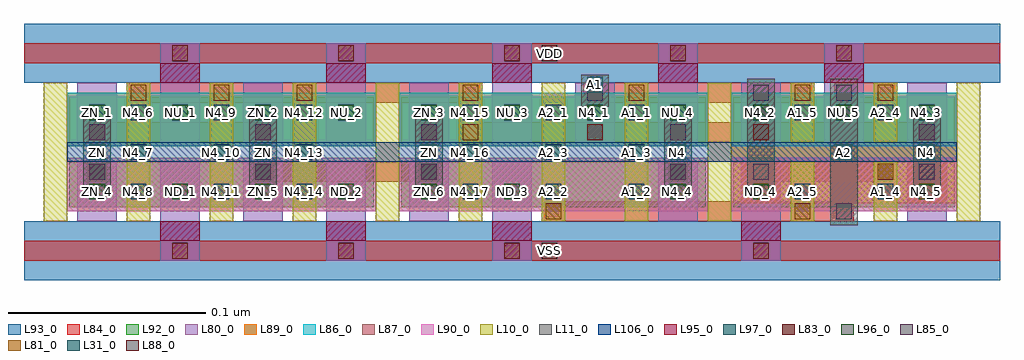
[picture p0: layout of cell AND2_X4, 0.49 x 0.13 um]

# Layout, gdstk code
import gdstk
lib = gdstk.Library(unit=1e-6, precision=1e-09)
def R(c, l, rs):  # rectangles x0, y0, x1, y1
    for r in rs: c.add(gdstk.rectangle(r[:2], r[2:], *l))
def A(c, l, x, y, w, h, nx, ny, dx, dy):  # array of equal rectangles
    R(c, l, [(x+i*dx, y+j*dy, x+i*dx+w, y+j*dy+h) for i in range(nx) for j in range(ny)])
L10_0 = (10, 0)
L11_0 = (11, 0)
L31_0 = (31, 0)
L80_0 = (80, 0)
L81_0 = (81, 0)
L83_0 = (83, 0)
L84_0 = (84, 0)
L85_0 = (85, 0)
L86_0 = (86, 0)
L87_0 = (87, 0)
L88_0 = (88, 0)
L89_0 = (89, 0)
L90_0 = (90, 0)
L92_0 = (92, 0)
L93_0 = (93, 0)
L95_0 = (95, 0)
L96_0 = (96, 0)
L97_0 = (97, 0)
L106_0 = (106, 0)

and2_x4 = lib.new_cell('AND2_X4')
A(and2_x4, L10_0, -0.027, 0.015, 0.012, 0.07, 9, 1, 0.042, 0)
R(and2_x4, L10_0, [(0.351,0.015,0.363,0.045), (0.393,0.015,0.405,0.045), (0.435,0.015,0.447,0.085), (0.351,0.055,0.363,0.085), (0.393,0.055,0.405,0.085)])
A(and2_x4, L11_0, -0.007, 0.033, 0.014, 0.034, 3, 1, 0.084, 0)
A(and2_x4, L11_0, 0.287, 0.033, 0.014, 0.034, 4, 1, 0.042, 0)
R(and2_x4, L11_0, [(0.371,0.013,0.385,0.047), (0.329,0.053,0.343,0.087), (0.371,0.053,0.385,0.087), (0.245,0.073,0.259,0.089)])
A(and2_x4, L31_0, -0.004, 0.046, 0.008, 0.008, 3, 1, 0.084, 0)
R(and2_x4, L31_0, [(0.29,0.046,0.298,0.054), (0.374,0.046,0.382,0.054), (0.416,0.046,0.424,0.054), (0.248,0.08,0.256,0.088)])
A(and2_x4, L80_0, 0.032, -0.005, 0.02, 0.03, 3, 1, 0.084, 0)
A(and2_x4, L80_0, -0.01, 0.015, 0.02, 0.03, 6, 1, 0.042, 0)
A(and2_x4, L80_0, -0.01, 0.055, 0.02, 0.03, 11, 1, 0.042, 0)
A(and2_x4, L80_0, 0.032, 0.075, 0.02, 0.03, 5, 1, 0.084, 0)
R(and2_x4, L80_0, [(0.326,-0.005,0.346,0.025), (0.284,0.015,0.304,0.045), (0.326,0.015,0.346,0.045), (0.41,0.015,0.43,0.045)])
A(and2_x4, L81_0, 0.101, 0.076, 0.008, 0.008, 4, 1, 0.084, 0)
R(and2_x4, L81_0, [(0.227,0.016,0.235,0.024), (0.353,0.016,0.361,0.024), (0.395,0.036,0.403,0.044), (0.185,0.056,0.193,0.064), (0.017,0.076,0.025,0.084), (0.017,0.076,0.025,0.084), (0.059,0.076,0.067,0.084), (0.059,0.076,0.067,0.084), (0.395,0.076,0.403,0.084)])
A(and2_x4, L83_0, 0.038, -0.004, 0.008, 0.008, 3, 1, 0.084, 0)
A(and2_x4, L83_0, -0.004, 0.036, 0.008, 0.008, 3, 1, 0.084, 0)
A(and2_x4, L83_0, -0.004, 0.056, 0.008, 0.008, 6, 1, 0.084, 0)
A(and2_x4, L83_0, 0.038, 0.096, 0.008, 0.008, 5, 1, 0.084, 0)
R(and2_x4, L83_0, [(0.332,-0.004,0.34,0.004), (0.29,0.036,0.298,0.044), (0.416,0.036,0.424,0.044)])
A(and2_x4, L84_0, 0.226, 0.015, 0.031, 0.01, 7, 1, 0.021, 0)
A(and2_x4, L84_0, 0.079, 0.035, 0.031, 0.01, 4, 1, 0.021, 0)
A(and2_x4, L84_0, 0.331, 0.035, 0.031, 0.01, 3, 1, 0.021, 0)
A(and2_x4, L84_0, -0.005, 0.055, 0.031, 0.01, 4, 1, 0.021, 0)
A(and2_x4, L84_0, 0.184, 0.055, 0.031, 0.01, 11, 1, 0.021, 0)
A(and2_x4, L84_0, 0.016, 0.075, 0.031, 0.01, 8, 1, 0.021, 0)
A(and2_x4, L84_0, 0.289, 0.075, 0.031, 0.01, 3, 1, 0.021, 0)
R(and2_x4, L84_0, [(-0.037,-0.005,0.457,0.005), (-0.005,0.035,0.005,0.045), (0.289,0.035,0.299,0.045), (0.415,0.035,0.425,0.045), (0.163,0.055,0.173,0.065), (0.246,0.075,0.299,0.085), (0.373,0.075,0.404,0.085), (-0.037,0.095,0.457,0.105)])
A(and2_x4, L85_0, -0.004, 0.036, 0.008, 0.008, 3, 2, 0.084, 0.02)
R(and2_x4, L85_0, [(0.374,0.016,0.382,0.024), (0.29,0.036,0.298,0.044), (0.332,0.036,0.34,0.044), (0.416,0.036,0.424,0.044), (0.29,0.056,0.298,0.064), (0.416,0.056,0.424,0.064), (0.248,0.076,0.256,0.084), (0.332,0.076,0.34,0.084), (0.374,0.076,0.382,0.084)])
R(and2_x4, L86_0, [(-0.015,0.053,0.141,0.08), (0.153,0.053,0.309,0.08), (0.321,0.053,0.435,0.08)])
R(and2_x4, L87_0, [(-0.015,0.02,0.141,0.047), (0.153,0.02,0.309,0.047), (0.321,0.02,0.435,0.047)])
R(and2_x4, L88_0, [(0.225,-0.004,0.233,0.004), (0.225,0.096,0.233,0.104)])
R(and2_x4, L89_0, [(0.321,0.024,0.435,0.08), (-0.015,0.053,0.141,0.08), (0.153,0.053,0.309,0.08)])
R(and2_x4, L90_0, [(-0.015,0.02,0.141,0.047), (0.153,0.02,0.309,0.047), (0.321,0.02,0.435,0.047)])
R(and2_x4, L92_0, [(-0.014,0.022,0.14,0.045), (0.154,0.022,0.308,0.045), (0.322,0.022,0.434,0.045), (-0.014,0.055,0.14,0.078), (0.154,0.055,0.308,0.078), (0.322,0.055,0.434,0.078)])
R(and2_x4, L93_0, [(-0.037,-0.015,0.457,0.015), (-0.037,0.085,0.457,0.115)])
A(and2_x4, L95_0, 0.032, 0.005, 0.02, 0.01, 3, 1, 0.084, 0)
A(and2_x4, L95_0, 0.032, 0.085, 0.02, 0.01, 5, 1, 0.084, 0)
R(and2_x4, L95_0, [(0.326,0.005,0.346,0.015)])
A(and2_x4, L96_0, -0.004, 0.026, 0.008, 0.008, 6, 1, 0.042, 0)
A(and2_x4, L96_0, -0.004, 0.066, 0.008, 0.008, 11, 1, 0.042, 0)
R(and2_x4, L96_0, [(0.29,0.026,0.298,0.034), (0.332,0.026,0.34,0.034), (0.416,0.026,0.424,0.034)])
A(and2_x4, L97_0, 0.017, 0.026, 0.008, 0.008, 3, 3, 0.042, 0.02)
A(and2_x4, L97_0, 0.185, 0.026, 0.008, 0.008, 3, 3, 0.042, 0.02)
R(and2_x4, L97_0, [(0.353,0.026,0.361,0.034), (0.395,0.026,0.403,0.034), (0.353,0.066,0.361,0.074), (0.395,0.066,0.403,0.074)])
R(and2_x4, L106_0, [(-0.015,0.045,0.435,0.055)])
and2_x4.add(gdstk.Label('N4_5', (0.42,0.03), layer=96, texttype=0))
and2_x4.add(gdstk.Label('ND_4', (0.336,0.03), layer=96, texttype=0))
and2_x4.add(gdstk.Label('N4_4', (0.294,0.03), layer=96, texttype=0))
and2_x4.add(gdstk.Label('ND_3', (0.21,0.03), layer=96, texttype=0))
and2_x4.add(gdstk.Label('ZN_6', (0.168,0.03), layer=96, texttype=0))
and2_x4.add(gdstk.Label('ND_2', (0.126,0.03), layer=96, texttype=0))
and2_x4.add(gdstk.Label('ZN_5', (0.084,0.03), layer=96, texttype=0))
and2_x4.add(gdstk.Label('ND_1', (0.042,0.03), layer=96, texttype=0))
and2_x4.add(gdstk.Label('ZN_4', (0,0.03), layer=96, texttype=0))
and2_x4.add(gdstk.Label('N4_3', (0.42,0.07), layer=96, texttype=0))
and2_x4.add(gdstk.Label('NU_5', (0.378,0.07), layer=96, texttype=0))
and2_x4.add(gdstk.Label('N4_2', (0.336,0.07), layer=96, texttype=0))
and2_x4.add(gdstk.Label('NU_4', (0.294,0.07), layer=96, texttype=0))
and2_x4.add(gdstk.Label('N4_1', (0.252,0.07), layer=96, texttype=0))
and2_x4.add(gdstk.Label('NU_3', (0.21,0.07), layer=96, texttype=0))
and2_x4.add(gdstk.Label('ZN_3', (0.168,0.07), layer=96, texttype=0))
and2_x4.add(gdstk.Label('NU_2', (0.126,0.07), layer=96, texttype=0))
and2_x4.add(gdstk.Label('ZN_2', (0.084,0.07), layer=96, texttype=0))
and2_x4.add(gdstk.Label('NU_1', (0.042,0.07), layer=96, texttype=0))
and2_x4.add(gdstk.Label('ZN_1', (0,0.07), layer=96, texttype=0))
and2_x4.add(gdstk.Label('A1_4', (0.399,0.03), layer=97, texttype=0))
and2_x4.add(gdstk.Label('A2_5', (0.357,0.03), layer=97, texttype=0))
and2_x4.add(gdstk.Label('A1_2', (0.273,0.03), layer=97, texttype=0))
and2_x4.add(gdstk.Label('A2_2', (0.231,0.03), layer=97, texttype=0))
and2_x4.add(gdstk.Label('N4_17', (0.189,0.03), layer=97, texttype=0))
and2_x4.add(gdstk.Label('N4_14', (0.105,0.03), layer=97, texttype=0))
and2_x4.add(gdstk.Label('N4_11', (0.063,0.03), layer=97, texttype=0))
and2_x4.add(gdstk.Label('N4_8', (0.021,0.03), layer=97, texttype=0))
and2_x4.add(gdstk.Label('A2_4', (0.399,0.07), layer=97, texttype=0))
and2_x4.add(gdstk.Label('A1_5', (0.357,0.07), layer=97, texttype=0))
and2_x4.add(gdstk.Label('A1_1', (0.273,0.07), layer=97, texttype=0))
and2_x4.add(gdstk.Label('A2_1', (0.231,0.07), layer=97, texttype=0))
and2_x4.add(gdstk.Label('N4_15', (0.189,0.07), layer=97, texttype=0))
and2_x4.add(gdstk.Label('N4_12', (0.105,0.07), layer=97, texttype=0))
and2_x4.add(gdstk.Label('N4_9', (0.063,0.07), layer=97, texttype=0))
and2_x4.add(gdstk.Label('N4_6', (0.021,0.07), layer=97, texttype=0))
and2_x4.add(gdstk.Label('A1_3', (0.273,0.05), layer=97, texttype=0))
and2_x4.add(gdstk.Label('A2_3', (0.231,0.05), layer=97, texttype=0))
and2_x4.add(gdstk.Label('N4_10', (0.063,0.05), layer=97, texttype=0))
and2_x4.add(gdstk.Label('N4_13', (0.105,0.05), layer=97, texttype=0))
and2_x4.add(gdstk.Label('N4_7', (0.021,0.05), layer=97, texttype=0))
and2_x4.add(gdstk.Label('N4_16', (0.189,0.05), layer=97, texttype=0))
and2_x4.add(gdstk.Label('A1', (0.252,0.084), layer=31, texttype=0))
and2_x4.add(gdstk.Label('N4', (0.42,0.05), layer=31, texttype=0))
and2_x4.add(gdstk.Label('A2', (0.378,0.05), layer=31, texttype=0))
and2_x4.add(gdstk.Label('N4', (0.294,0.05), layer=31, texttype=0))
and2_x4.add(gdstk.Label('ZN', (0.168,0.05), layer=31, texttype=0))
and2_x4.add(gdstk.Label('ZN', (0,0.05), layer=31, texttype=0))
and2_x4.add(gdstk.Label('ZN', (0.084,0.05), layer=31, texttype=0))
and2_x4.add(gdstk.Label('VDD', (0.229,0.1), layer=88, texttype=0))
and2_x4.add(gdstk.Label('VSS', (0.229,0), layer=88, texttype=0))

lib.write_gds('AND2_X4.gds')
